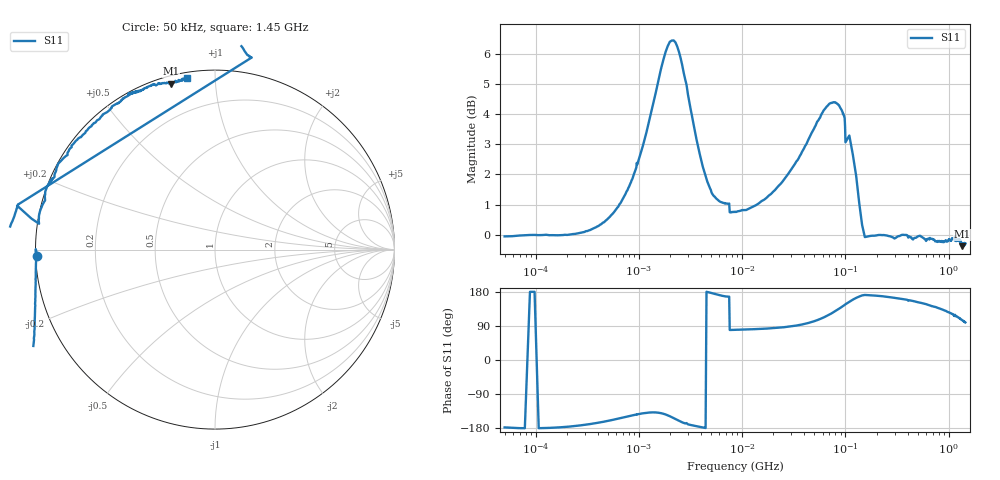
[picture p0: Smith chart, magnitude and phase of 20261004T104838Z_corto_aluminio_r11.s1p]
! piloto_corto / corto_aluminio / r11
# HZ S RI R 50
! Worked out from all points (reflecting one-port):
!   501 points, 50 kHz to 1.45 GHz, reference 50 ohm
!   lowest |S11| = -0.4 dB at 1.355 GHz (marker M1), VSWR 45.35, Z = 1.75 + j38.4 ohm
!   phase of S11 starts at -178 deg and turns -83 deg over the sweep
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50000  -0.9926 -0.0371
183000  -0.9971 -0.0496
363500  -1 -0.2203
658000  -1.008 -0.502
1180000  -1.123 -0.9595
1630000  -1.445 -1.203
1990000  -1.779 -1.096
2440000  -1.898 -0.6639
3340000  -1.528 -0.191
4690000  -1.213 0.0221
7300000  -1.097 0.2502
7750000  0.2025 1.07
8560000  0.1967 1.073
3.16e7  0.0041 1.302
4.78e7  -0.2763 1.456
6.85e7  -0.7881 1.442
8.02e7  -1.053 1.279
9.55e7  -1.267 0.9553
9.82e7  -1.283 0.8887
1e8  -1.194 0.7738
1.18e8  -1.269 0.4783
1.36e8  -1.1 0.2431
1.63e8  -0.9812 0.1507
4.06e8  -0.9055 0.3971
8.65e8  -0.6665 0.7073
1.1575e9  -0.4449 0.879
1.3555e9  -0.2458 0.9247
1.45e9  -0.1535 0.9548
